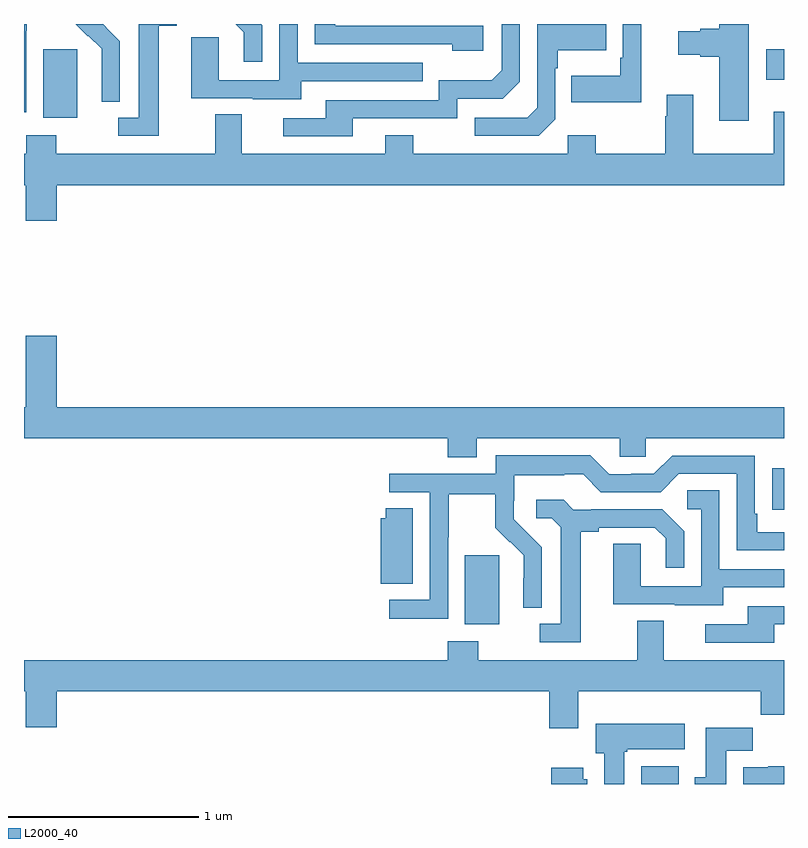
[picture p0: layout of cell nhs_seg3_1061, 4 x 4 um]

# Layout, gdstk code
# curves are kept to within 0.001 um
import gdstk
lib = gdstk.Library(unit=1e-6, precision=1e-09)
def R(c, l, rs):  # rectangles x0, y0, x1, y1
    for r in rs: c.add(gdstk.rectangle(r[:2], r[2:], *l))
def P(c, l, *ps):  # polygons
    for p in ps: c.add(gdstk.Polygon(p, *l))
L2000_40 = (2000, 40)

nhs_seg3_1061 = lib.new_cell('nhs_seg3_1061')
R(nhs_seg3_1061, L2000_40, [(168.248,728.4,168.445,728.494), (167.321,729.242,167.5,729.603), (168.937,729.844,169,730.063), (165.101,731.906,165.28,732.267), (168.906,732.107,169,732.268)])
P(nhs_seg3_1061, L2000_40, [(166.729,731.904),(167.28,731.904),(167.28,732.006),(167.52,732.006),(167.61,732.096),(167.61,732.4),(167.514,732.4),(167.514,732.156),(167.461,732.103),(167.184,732.103),(167.184,732),(166.589,732),(166.589,731.904),(166.365,731.904),(166.365,731.808),(166.729,731.808)],
  [(167.796,731.898),(167.796,732.167),(167.809,732.167),(167.809,732.263),(168.065,732.263),(168.065,732.4),(167.7,732.4),(167.7,731.958),(167.649,731.907),(167.373,731.907),(167.373,731.811),(167.709,731.811)],
  [(166.459,732.099),(167.099,732.099),(167.099,732.195),(166.44,732.195),(166.44,732.4),(166.344,732.4),(166.344,732.105),(166.026,732.105),(166.026,732.329),(165.881,732.329),(165.881,732.009),(166.205,732.009),(166.205,732.005),(166.459,732.005)],
  [(166.254,732.394),(166.248,732.4),(166.114,732.4),(166.157,732.357),(166.157,732.201),(166.254,732.201)],
  [(165.709,732.392),(165.805,732.392),(165.805,732.4),(165.605,732.4),(165.605,731.907),(165.495,731.907),(165.495,731.811),(165.709,731.811)],
  [(168.814,732.4),(168.659,732.4),(168.659,732.374),(168.56,732.374),(168.56,732.361),(168.444,732.361),(168.444,732.239),(168.56,732.239),(168.56,732.227),(168.659,732.227),(168.659,731.892),(168.814,731.892)],
  [(167.416,732.39),(166.639,732.39),(166.639,732.4),(166.53,732.4),(166.53,732.294),(167.255,732.294),(167.255,732.26),(167.416,732.26)],
  [(165.504,732.31),(165.431,732.383),(165.432,732.384),(165.416,732.4),(165.272,732.4),(165.336,732.336),(165.339,732.339),(165.41,732.269),(165.41,732.146),(165.408,732.146),(165.408,731.992),(165.504,731.992)],
  [(165.012,732.364),(165.015,732.364),(165.015,732.4),(165,732.4),(165,731.935),(165.012,731.935)],
  [(168.248,732.4),(168.15,732.4),(168.15,732.223),(168.138,732.223),(168.138,732.127),(167.881,732.127),(167.881,731.987),(168.248,731.987)],
  [(169,731.938),(168.947,731.938),(168.947,731.716),(168.523,731.716),(168.523,732.028),(168.383,732.028),(168.383,731.915),(168.376,731.915),(168.376,731.716),(168.009,731.716),(168.009,731.815),(167.862,731.815),(167.862,731.716),(167.049,731.716),(167.049,731.815),(166.901,731.815),(166.901,731.716),(166.147,731.716),(166.147,731.924),(166.007,731.924),(166.007,731.716),(165.171,731.716),(165.171,731.815),(165.011,731.815),(165.011,731.716),(165,731.716),(165,731.552),(165.008,731.552),(165.008,731.364),(165.172,731.364),(165.172,731.552),(169,731.552)],
  [(167.383,730.22),(168.135,730.22),(168.135,730.122),(168.273,730.122),(168.273,730.22),(169,730.22),(169,730.384),(165.172,730.384),(165.172,730.759),(165.008,730.759),(165.008,730.384),(165,730.384),(165,730.22),(167.231,730.22),(167.231,730.121),(167.383,730.121)],
  [(167.232,729.7),(167.235,729.7),(167.235,729.924),(167.479,729.924),(167.479,729.749),(167.556,729.672),(167.559,729.675),(167.63,729.605),(167.63,729.482),(167.628,729.482),(167.628,729.328),(167.724,729.328),(167.724,729.646),(167.578,729.794),(167.578,729.891),(167.58,729.891),(167.58,730.025),(167.843,730.025),(167.843,730.029),(167.943,730.029),(168.036,729.936),(168.351,729.936),(168.447,730.032),(168.75,730.032),(168.75,729.63),(169,729.63),(169,729.726),(168.859,729.726),(168.859,729.823),(168.846,729.823),(168.846,730.128),(168.411,730.128),(168.315,730.032),(168.197,730.032),(168.197,730.029),(168.081,730.029),(167.981,730.129),(167.484,730.129),(167.484,730.032),(166.923,730.032),(166.923,729.936),(167.136,729.936),(167.136,729.369),(166.923,729.369),(166.923,729.271),(167.232,729.271)],
  [(168.679,729.435),(169,729.435),(169,729.531),(168.66,729.531),(168.66,729.947),(168.492,729.947),(168.492,729.846),(168.564,729.846),(168.564,729.441),(168.246,729.441),(168.246,729.665),(168.101,729.665),(168.101,729.345),(168.425,729.345),(168.425,729.341),(168.679,729.341)],
  [(167.929,729.728),(168.025,729.728),(168.025,729.75),(168.32,729.75),(168.377,729.693),(168.377,729.537),(168.474,729.537),(168.474,729.73),(168.358,729.846),(167.986,729.846),(167.986,729.843),(167.892,729.843),(167.84,729.895),(167.697,729.895),(167.697,729.798),(167.778,729.798),(167.825,729.751),(167.825,729.243),(167.715,729.243),(167.715,729.147),(167.929,729.147)],
  [(167.047,729.851),(166.904,729.851),(166.904,729.798),(166.877,729.798),(166.877,729.454),(167.047,729.454)],
  [(168.949,729.24),(169,729.24),(169,729.336),(168.809,729.336),(168.809,729.24),(168.585,729.24),(168.585,729.144),(168.949,729.144)],
  [(167.917,728.888),(168.877,728.888),(168.877,728.764),(169,728.764),(169,729.052),(168.367,729.052),(168.367,729.26),(168.227,729.26),(168.227,729.052),(167.391,729.052),(167.391,729.151),(167.231,729.151),(167.231,729.052),(165,729.052),(165,728.888),(165.008,728.888),(165.008,728.7),(165.172,728.7),(165.172,728.888),(167.765,728.888),(167.765,728.694),(167.917,728.694)],
  [(168.16,728.569),(168.174,728.569),(168.174,728.582),(168.478,728.582),(168.478,728.716),(168.008,728.716),(168.008,728.562),(168.053,728.562),(168.053,728.4),(168.16,728.4)],
  [(168.697,728.576),(168.836,728.576),(168.836,728.695),(168.587,728.695),(168.587,728.436),(168.53,728.436),(168.53,728.4),(168.697,728.4)],
  [(169,728.494),(168.918,728.494),(168.918,728.488),(168.785,728.488),(168.785,728.4),(169,728.4)],
  [(167.965,728.424),(167.944,728.424),(167.944,728.485),(167.774,728.485),(167.774,728.4),(167.965,728.4)])

lib.write_gds('nhs_seg3_1061.gds')
